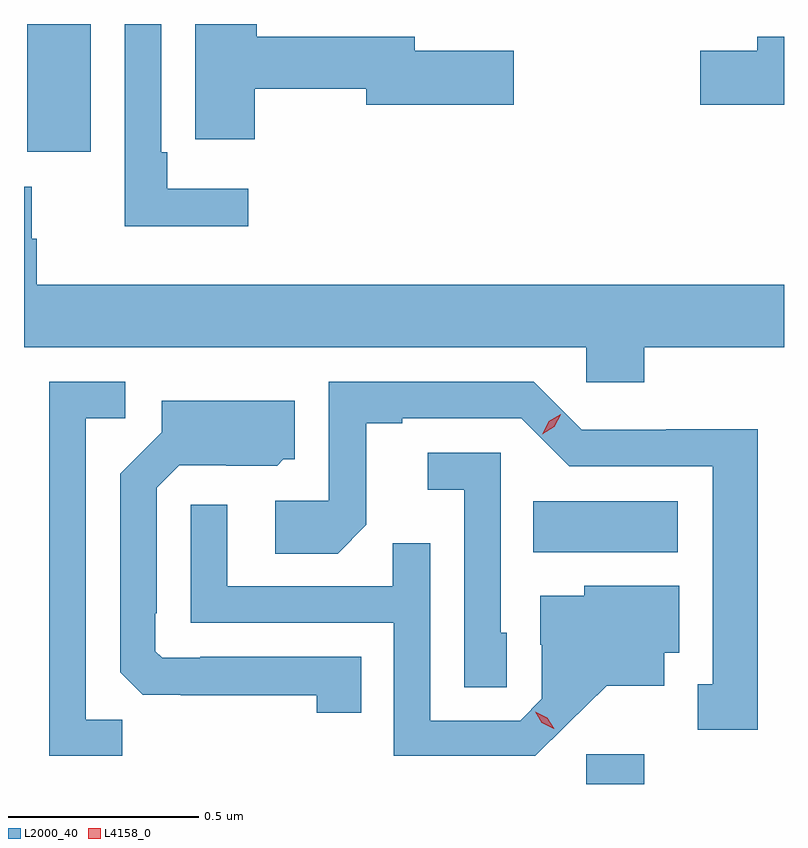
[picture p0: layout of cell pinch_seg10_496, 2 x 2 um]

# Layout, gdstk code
import gdstk
lib = gdstk.Library(unit=1e-6, precision=1e-09)
def R(c, l, rs):  # rectangles x0, y0, x1, y1
    for r in rs: c.add(gdstk.rectangle(r[:2], r[2:], *l))
def P(c, l, *ps):  # polygons
    for p in ps: c.add(gdstk.Polygon(p, *l))
L2000_40 = (2000, 40)
L4158_0 = (4158, 0)

pinch_seg10_496 = lib.new_cell('pinch_seg10_496')
R(pinch_seg10_496, L2000_40, [(324.876,1316.482,325.028,1316.56), (324.736,1317.092,325.117,1317.226), (323.405,1318.146,323.572,1318.482)])
P(pinch_seg10_496, L2000_40, [(323.986,1318.048),(323.773,1318.048),(323.773,1318.144),(323.757,1318.144),(323.757,1318.482),(323.661,1318.482),(323.661,1317.95),(323.986,1317.95)],
  [(324.003,1318.312),(324.296,1318.312),(324.296,1318.27),(324.685,1318.27),(324.685,1318.412),(324.424,1318.412),(324.424,1318.448),(324.008,1318.448),(324.008,1318.482),(323.846,1318.482),(323.846,1318.291),(323.847,1318.291),(323.847,1318.179),(324.003,1318.179)],
  [(325.396,1318.448),(325.325,1318.448),(325.325,1318.412),(325.176,1318.412),(325.176,1318.27),(325.396,1318.27)],
  [(325.028,1317.632),(325.396,1317.632),(325.396,1317.796),(323.429,1317.796),(323.429,1317.917),(323.416,1317.917),(323.416,1318.054),(323.396,1318.054),(323.396,1317.632),(324.876,1317.632),(324.876,1317.539),(325.028,1317.539)],
  [(323.655,1316.651),(323.559,1316.651),(323.559,1317.444),(323.662,1317.444),(323.662,1317.54),(323.463,1317.54),(323.463,1316.556),(323.655,1316.556)],
  [(325.327,1317.416),(325.086,1317.416),(325.086,1317.414),(324.864,1317.414),(324.738,1317.54),(324.198,1317.54),(324.198,1317.228),(324.057,1317.228),(324.057,1317.088),(324.221,1317.088),(324.297,1317.164),(324.297,1317.432),(324.391,1317.432),(324.391,1317.444),(324.705,1317.444),(324.831,1317.318),(325.208,1317.318),(325.208,1316.745),(325.169,1316.745),(325.169,1316.625),(325.327,1316.625)],
  [(324.284,1316.817),(323.86,1316.817),(323.86,1316.814),(323.76,1316.814),(323.742,1316.832),(323.742,1316.932),(323.745,1316.932),(323.745,1317.261),(323.805,1317.321),(323.928,1317.321),(323.928,1317.32),(324.062,1317.32),(324.078,1317.336),(324.109,1317.336),(324.109,1317.49),(323.759,1317.49),(323.759,1317.408),(323.649,1317.298),(323.649,1316.776),(323.708,1316.717),(323.809,1316.717),(323.809,1316.716),(324.166,1316.716),(324.166,1316.67),(324.284,1316.67)],
  [(324.666,1316.88),(324.651,1316.88),(324.651,1317.354),(324.459,1317.354),(324.459,1317.257),(324.555,1317.257),(324.555,1316.737),(324.666,1316.737)],
  [(324.826,1316.639),(324.929,1316.741),(325.081,1316.741),(325.081,1316.828),(325.12,1316.828),(325.12,1317.004),(324.87,1317.004),(324.87,1316.977),(324.755,1316.977),(324.755,1316.848),(324.759,1316.848),(324.759,1316.706),(324.702,1316.649),(324.465,1316.649),(324.465,1317.116),(324.367,1317.116),(324.367,1317.003),(323.931,1317.003),(323.931,1317.217),(323.835,1317.217),(323.835,1316.907),(324.369,1316.907),(324.369,1316.556),(324.742,1316.556)])
P(pinch_seg10_496, L4158_0, [(324.76,1317.403),(324.76,1317.403),(324.777,1317.436),(324.808,1317.455),(324.809,1317.455),(324.809,1317.454),(324.791,1317.422),(324.76,1317.403)],
  [(324.79,1316.628),(324.759,1316.643),(324.742,1316.672),(324.742,1316.672),(324.742,1316.672),(324.773,1316.657),(324.791,1316.628),(324.791,1316.628)])

lib.write_gds('pinch_seg10_496.gds')
